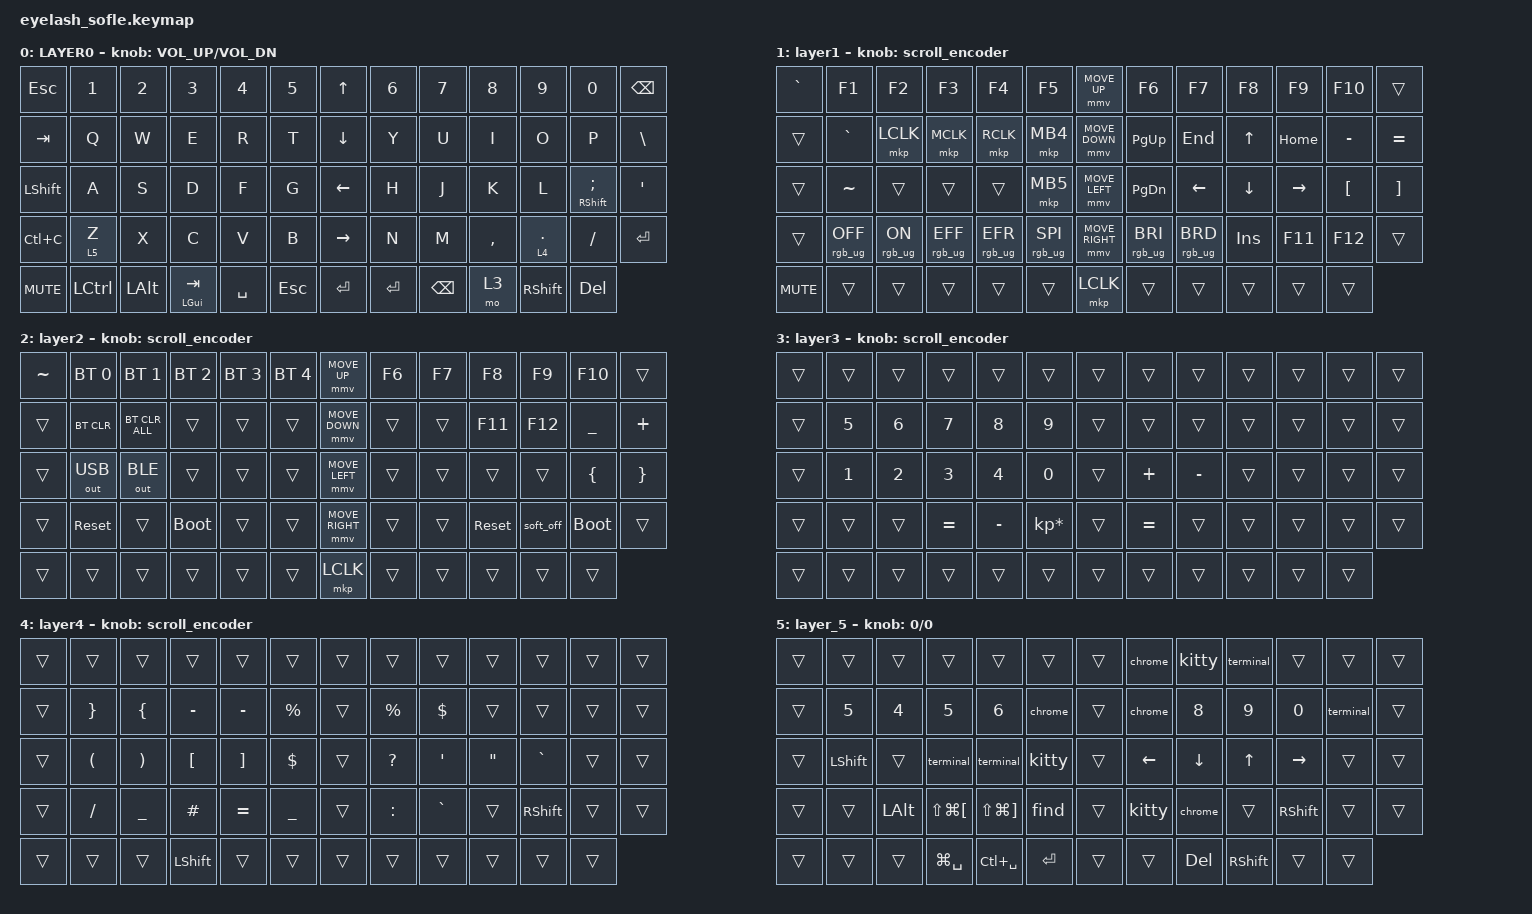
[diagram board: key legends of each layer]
#define ZMK_POINTING_DEFAULT_MOVE_VAL 1200  // 600
#define ZMK_POINTING_DEFAULT_SCRL_VAL 25   // 10

#include <input/processors.dtsi>
#include <zephyr/dt-bindings/input/input-event-codes.h>
#include <behaviors.dtsi>
#include <dt-bindings/zmk/bt.h>
#include <dt-bindings/zmk/keys.h>
#include <dt-bindings/zmk/outputs.h>
#include <dt-bindings/zmk/pointing.h>
#include <dt-bindings/zmk/rgb.h>

&mmv_input_listener { input-processors = <&zip_xy_scaler 2 1>; };

&msc_input_listener { input-processors = <&zip_scroll_scaler 2 1>; };

&msc {
    acceleration-exponent = <1>;      // 0
    time-to-max-speed-ms = <100>;       // 300
    delay-ms = <0>;                   // 0
};

&mmv {
    time-to-max-speed-ms = <500>;
    acceleration-exponent = <1>;
    trigger-period-ms = <16>;
};

&soft_off { hold-time-ms = <2000>; };

/ {
    scroll_encoder: scroll_encoder {
        compatible = "zmk,behavior-sensor-rotate";
        #sensor-binding-cells = <0>;
        bindings = <&msc SCRL_DOWN>, <&msc SCRL_UP>;

        tap-ms = <100>;
    };

    behaviors {
    };

    combos {
        compatible = "zmk,combos";

        softoff {
            bindings = <&soft_off>;
            key-positions = <14 28 40>;
        };
    };

    macros {
        SHIFT_MCLK: SHIFT_MCLK {
            compatible = "zmk,behavior-macro";
            #binding-cells = <0>;
            bindings =
                <&macro_press>,
                <&kp LEFT_SHIFT>,
                <&macro_press>,
                <&mkp MB3>,
                <&macro_pause_for_release>,
                <&macro_release>,
                <&kp LEFT_SHIFT &mkp MB3>;

            label = "SHIFT_MCLK";
        };

        terminal: focus_terminal {
            compatible = "zmk,behavior-macro";
            #binding-cells = <0>;
            bindings = <&kp LC(LA(LS(I)))>, <&macro_tap>;

            label = "Focus_Terminal";
        };

        chrome: chrome {
            compatible = "zmk,behavior-macro";
            #binding-cells = <0>;
            bindings = <&kp LC(LA(LS(C)))>;
            label = "CHROME";
        };

        kitty: kitty {
            compatible = "zmk,behavior-macro";
            #binding-cells = <0>;
            bindings = <&kp LC(LA(LS(K)))>;
            label = "KITTY";
        };

        copy: copy {
            compatible = "zmk,behavior-macro";
            #binding-cells = <0>;
            bindings = <&kp LG(C)>;
            label = "COPY";
        };

        paste: paste {
            compatible = "zmk,behavior-macro";
            #binding-cells = <0>;
            bindings = <&kp LG(V)>;
            label = "PASTE";
        };

        find: find {
            compatible = "zmk,behavior-macro";
            #binding-cells = <0>;
            bindings = <&kp LG(F)>;
            label = "FIND";
        };
    };

    keymap {
        compatible = "zmk,keymap";

        layer0 {
            bindings = <
&kp ESC         &kp N1     &kp N2        &kp N3        &kp N4     &kp N5        &kp UP_ARROW     &kp N6     &kp N7         &kp N8     &kp N9           &kp N0                &kp BACKSPACE
&kp TAB         &kp Q      &kp W         &kp E         &kp R      &kp T         &kp DOWN_ARROW   &kp Y      &kp U          &kp I      &kp O            &kp P                 &kp BSLH
&kp LEFT_SHIFT  &kp A      &kp S         &kp D         &kp F      &kp G         &kp LEFT_ARROW   &kp H      &kp J          &kp K      &kp L            &mt RIGHT_SHIFT SEMI  &kp APOS
&kp LC(C)       &lt 5 Z    &kp X         &kp C         &kp V      &kp B         &kp RIGHT_ARROW  &kp N      &kp M          &kp COMMA  &lt 4 DOT        &kp FSLH              &kp ENTER
&kp C_MUTE      &kp LCTRL  &kp LEFT_ALT  &mt LGUI TAB  &kp SPACE  &kp ESCAPE    &kp ENTER        &kp ENTER  &kp BACKSPACE  &mo 3      &kp RIGHT_SHIFT  &kp DELETE
            >;

            sensor-bindings = <&inc_dec_kp C_VOLUME_UP C_VOL_DN>;
            display-name = "LAYER0";
        };

        layer_1 {
            bindings = <
&kp GRAVE   &kp F1           &kp F2          &kp F3           &kp F4           &kp F5             &mmv MOVE_UP     &kp F6           &kp F7           &kp F8      &kp F9     &kp F10           &trans
&trans      &kp GRAVE        &mkp LCLK       &mkp MCLK        &mkp RCLK        &mkp MB4           &mmv MOVE_DOWN   &kp PG_UP        &kp END          &kp UP      &kp HOME   &kp MINUS         &kp EQUAL
&trans      &kp TILDE        &trans          &trans           &trans           &mkp MB5           &mmv MOVE_LEFT   &kp PG_DN        &kp LEFT         &kp DOWN    &kp RIGHT  &kp LEFT_BRACKET  &kp RIGHT_BRACKET
&trans      &rgb_ug RGB_OFF  &rgb_ug RGB_ON  &rgb_ug RGB_EFF  &rgb_ug RGB_EFR  &rgb_ug RGB_SPI    &mmv MOVE_RIGHT  &rgb_ug RGB_BRI  &rgb_ug RGB_BRD  &kp INSERT  &kp F11    &kp F12           &trans
&kp C_MUTE  &trans           &trans          &trans           &trans           &trans             &mkp LCLK        &trans           &trans           &trans      &trans     &trans
            >;

            display-name = "layer1";
            sensor-bindings = <&scroll_encoder>;
        };

        layer_2 {
            bindings = <
&kp TILDE  &bt BT_SEL 0  &bt BT_SEL 1    &bt BT_SEL 2  &bt BT_SEL 3  &bt BT_SEL 4    &mmv MOVE_UP     &kp F6  &kp F7  &kp F8      &kp F9     &kp F10      &trans
&trans     &bt BT_CLR    &bt BT_CLR_ALL  &trans        &trans        &trans          &mmv MOVE_DOWN   &trans  &trans  &kp F11     &kp F12    &kp UNDER    &kp PLUS
&trans     &out OUT_USB  &out OUT_BLE    &trans        &trans        &trans          &mmv MOVE_LEFT   &trans  &trans  &trans      &trans     &kp LBRC     &kp RBRC
&trans     &sys_reset    &trans          &bootloader   &trans        &trans          &mmv MOVE_RIGHT  &trans  &trans  &sys_reset  &soft_off  &bootloader  &trans
&trans     &trans        &trans          &trans        &trans        &trans          &mkp LCLK        &trans  &trans  &trans      &trans     &trans
            >;

            display-name = "layer2";
            sensor-bindings = <&scroll_encoder>;
        };

        layer_3 {
            bindings = <
&trans  &trans        &trans        &trans        &trans        &trans             &trans  &trans     &trans     &trans  &trans  &trans  &trans
&trans  &kp NUMBER_5  &kp NUMBER_6  &kp NUMBER_7  &kp NUMBER_8  &kp NUMBER_9       &trans  &trans     &trans     &trans  &trans  &trans  &trans
&trans  &kp NUMBER_1  &kp NUMBER_2  &kp NUMBER_3  &kp NUMBER_4  &kp NUMBER_0       &trans  &kp PLUS   &kp MINUS  &trans  &trans  &trans  &trans
&trans  &trans        &trans        &kp EQUAL     &kp MINUS     &kp KP_MULTIPLY    &trans  &kp EQUAL  &trans     &trans  &trans  &trans  &trans
&trans  &trans        &trans        &trans        &trans        &trans             &trans  &trans     &trans     &trans  &trans  &trans
            >;

            display-name = "layer3";
            sensor-bindings = <&scroll_encoder>;
        };

        layer_4 {
            bindings = <
&trans  &trans                &trans                 &trans            &trans             &trans         &trans  &trans        &trans            &trans             &trans           &trans  &trans
&trans  &kp RIGHT_BRACE       &kp LEFT_BRACE         &kp MINUS         &kp MINUS          &kp PERCENT    &trans  &kp PERCENT   &kp DOLLAR        &trans             &trans           &trans  &trans
&trans  &kp LEFT_PARENTHESIS  &kp RIGHT_PARENTHESIS  &kp LEFT_BRACKET  &kp RIGHT_BRACKET  &kp DOLLAR     &trans  &kp QUESTION  &kp SINGLE_QUOTE  &kp DOUBLE_QUOTES  &kp GRAVE        &trans  &trans
&trans  &kp SLASH             &kp UNDER              &kp POUND         &kp EQUAL          &kp UNDER      &trans  &kp COLON     &kp GRAVE         &trans             &kp RIGHT_SHIFT  &trans  &trans
&trans  &trans                &trans                 &kp LEFT_SHIFT    &trans             &trans         &trans  &trans        &trans            &trans             &trans           &trans
            >;

            display-name = "layer4";
            sensor-bindings = <&scroll_encoder>;
        };

        layer_5 {
            bindings = <
&trans  &trans          &trans        &trans                    &trans                     &trans       &trans  &chrome         &kitty        &terminal        &trans           &trans     &trans
&trans  &kp N5          &kp NUMBER_4  &kp NUMBER_5              &kp NUMBER_6               &chrome      &trans  &chrome         &kp NUMBER_8  &kp NUMBER_9     &kp NUMBER_0     &terminal  &trans
&trans  &kp LEFT_SHIFT  &trans        &terminal                 &terminal                  &kitty       &trans  &kp LEFT_ARROW  &kp DOWN      &kp UP_ARROW     &kp RIGHT_ARROW  &trans     &trans
&trans  &trans          &kp LEFT_ALT  &kp LS(LG(LEFT_BRACKET))  &kp LS(LG(RIGHT_BRACKET))  &find        &trans  &kitty          &chrome       &trans           &kp RIGHT_SHIFT  &trans     &trans
&trans  &trans          &trans        &kp LG(SPACE)             &kp LC(SPACE)              &kp ENTER    &trans  &trans          &kp DELETE    &kp RIGHT_SHIFT  &trans           &trans
            >;

            sensor-bindings = <&inc_dec_kp 0 0>;
        };
    };
};
